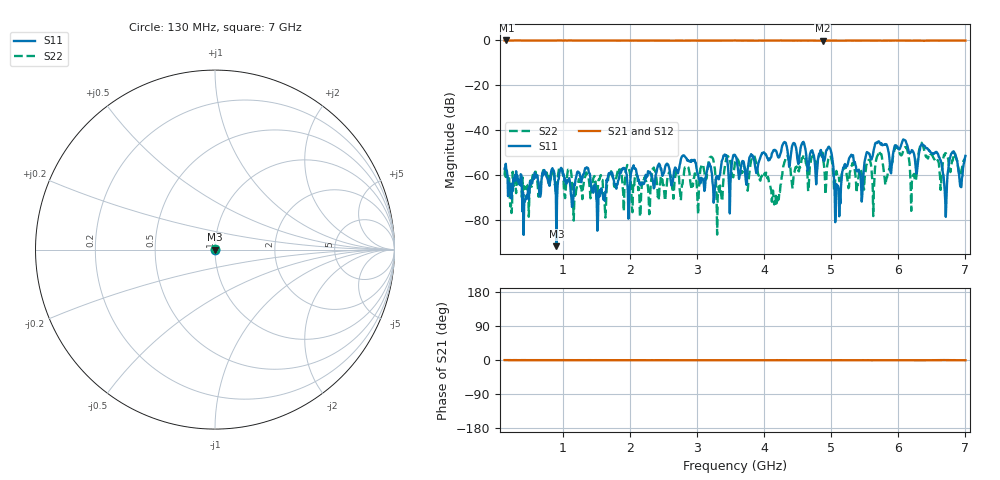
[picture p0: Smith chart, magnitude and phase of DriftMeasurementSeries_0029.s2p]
# Hz S RI R 50.000000
! Metas.Vna.Tools, 2.8.8664.20301
! Metas.Vna.Data, 2.8.8664.20285
! Created: UTC 2024.02.11 10:08:14
! FREQ  re:S1,1  im:S1,1  re:S2,1  im:S2,1  re:S1,2  im:S1,2  re:S2,2  im:S2,2
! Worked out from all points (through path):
!   801 points, 130 MHz to 7 GHz, reference 50 ohm
!   highest |S21| = -0.01 dB at 155.8 MHz (marker M1); lowest = -0.2 dB at 4.87 GHz (marker M2)
!   lowest |S11| = -91.8 dB at 902.9 MHz (marker M3), VSWR 1.00, Z = 50 - j0.00245 ohm
!   |S11| at or under -10 dB: start of sweep to end of sweep
!   |S22| runs from -86.6 to -45.6 dB; largest |S21 - S12| = 0.015
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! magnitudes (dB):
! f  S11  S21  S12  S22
! 130 MHz  -57.2  0.0  0.0  -60.1
! 155.8 MHz  -57.7  0.0  0.0  -57.4
! 902.9 MHz  -91.8  0.0  0.0  -66.2
! 1.281 GHz  -61.1  0.0  0.0  -68.1
! 1.53 GHz  -69.2  0.0  0.0  -62.3
! 2.423 GHz  -56.1  -0.1  0.0  -67.5
! 3.264 GHz  -66.2  -0.1  0.0  -57.2
! 3.565 GHz  -51.1  0.0  0.0  -54.1
! 4.183 GHz  -49.6  0.0  0.0  -72.7
! 4.329 GHz  -46.5  -0.1  0.0  -52.0
! 4.716 GHz  -49.0  -0.1  0.0  -51.8
! 4.87 GHz  -51.1  -0.2  0.0  -50.0
! 4.982 GHz  -48.1  -0.1  0.0  -52.1
! 5.094 GHz  -64.7  -0.1  0.0  -59.4
! 5.291 GHz  -51.5  -0.1  0.0  -56.4
! 5.858 GHz  -50.2  -0.1  0.0  -57.7
! 6.107 GHz  -44.7  -0.1  0.0  -47.6
! 6.219 GHz  -49.6  -0.1  0.0  -60.2
! 6.382 GHz  -46.8  -0.1  0.0  -48.5
! 6.699 GHz  -71.5  -0.1  0.0  -50.3
! 6.802 GHz  -50.2  0.0  0.0  -53.6
! 7 GHz  -51.5  -0.1  0.0  -52.7
